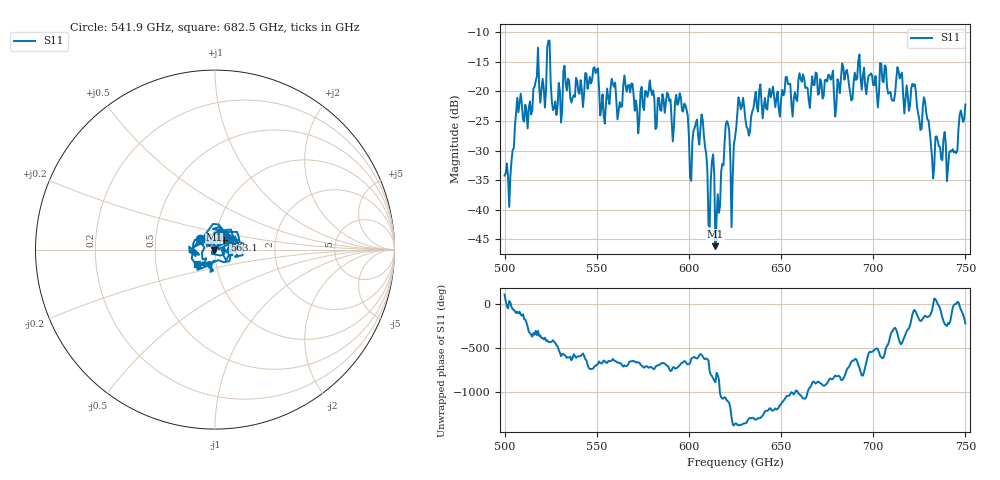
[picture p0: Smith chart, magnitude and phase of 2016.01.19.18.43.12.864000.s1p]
!Created with skrf (http://scikit-rf.org).
# GHz S RI R 50.0
!freq ReS11 ImS11
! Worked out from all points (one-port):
!   401 points, 500 GHz to 750 GHz, reference 50 ohm
!   lowest |S11| = -46.2 dB at 614.4 GHz (marker M1), VSWR 1.01, Z = 49.5 - j0.074 ohm
!   |S11| at or under -10 dB: start of sweep to end of sweep
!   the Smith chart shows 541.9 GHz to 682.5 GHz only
!   S11 on the Smith chart (normalised r, x): 541.9 GHz: 0.84, +0.10; 563.1 GHz: 1.11, +0.11; 682.5 GHz: 0.81, -0.13
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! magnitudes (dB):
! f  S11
! 500 GHz  -34.2
! 503.1 GHz  -34.4
! 507.5 GHz  -23.5
! 516.9 GHz  -18.2
! 531.2 GHz  -23.1
! 541.9 GHz  -19.6
! 549.4 GHz  -16.9
! 553.1 GHz  -20.5
! 558.8 GHz  -18.7
! 562.5 GHz  -21.8
! 563.1 GHz  -22.6
! 593.8 GHz  -22.2
! 601.2 GHz  -35.1
! 607.5 GHz  -24.9
! 610.6 GHz  -42.6
! 614.4 GHz  -46.2
! 615.6 GHz  -37.4
! 620.6 GHz  -25.0
! 623.1 GHz  -43.0
! 625 GHz  -27.8
! 628.1 GHz  -23.0
! 631.9 GHz  -26.3
! 656.2 GHz  -24.2
! 682.5 GHz  -17.9
! 687.5 GHz  -20.2
! 718.8 GHz  -20.7
! 741.2 GHz  -30.3
! 750 GHz  -22.2
